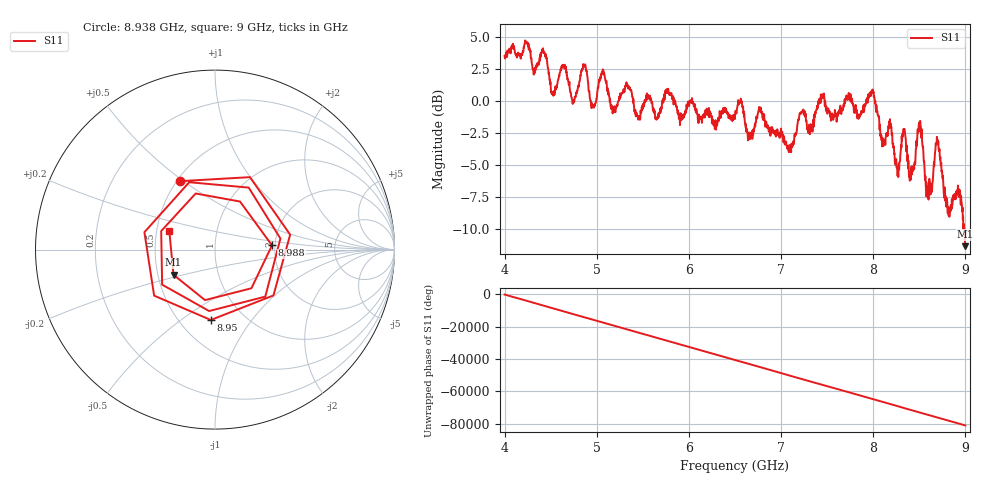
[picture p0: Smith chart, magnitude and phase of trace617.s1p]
! Created with skrf 1.8.0 (http://scikit-rf.org).
# Hz S RI R 50.0
!freq ReS11 ImS11
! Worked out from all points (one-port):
!   1601 points, 4 GHz to 9 GHz, reference 50 ohm
!   lowest |S11| = -11.4 dB at 8.997 GHz (marker M1), VSWR 1.74, Z = 30.2 - j9.14 ohm
!   |S11| at or under -10 dB: 8.982468 GHz to 8.987452 GHz (4.984 MHz wide, 0.0555 % of centre); 8.9883 GHz to end of sweep
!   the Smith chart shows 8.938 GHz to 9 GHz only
!   S11 on the Smith chart (normalised r, x): 8.938 GHz: 0.52, +0.49; 8.95 GHz: 0.70, -0.65; 8.988 GHz: 1.93, +0.10; 9 GHz: 0.58, +0.13
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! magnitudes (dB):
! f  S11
! 4 GHz  3.5
! 4.425 GHz  3.8
! 4.528 GHz  0.4
! 4.625 GHz  2.8
! 4.747 GHz  -0.1
! 4.862 GHz  2.8
! 4.956 GHz  -0.5
! 5.059 GHz  2.3
! 5.25 GHz  0.3
! 5.875 GHz  -0.7
! 6.5 GHz  -1.0
! 7.125 GHz  -3.5
! 7.225 GHz  -0.9
! 7.75 GHz  0.0
! 7.988 GHz  0.8
! 8.106 GHz  -3.2
! 8.266 GHz  -5.9
! 8.331 GHz  -2.2
! 8.375 GHz  -4.2
! 8.503 GHz  -2.1
! 8.591 GHz  -7.5
! 8.694 GHz  -3.2
! 8.812 GHz  -8.4
! 8.938 GHz  -7.4
! 8.95 GHz  -8.1
! 8.988 GHz  -9.9
! 8.997 GHz  -11.4
! 9 GHz  -11.2
